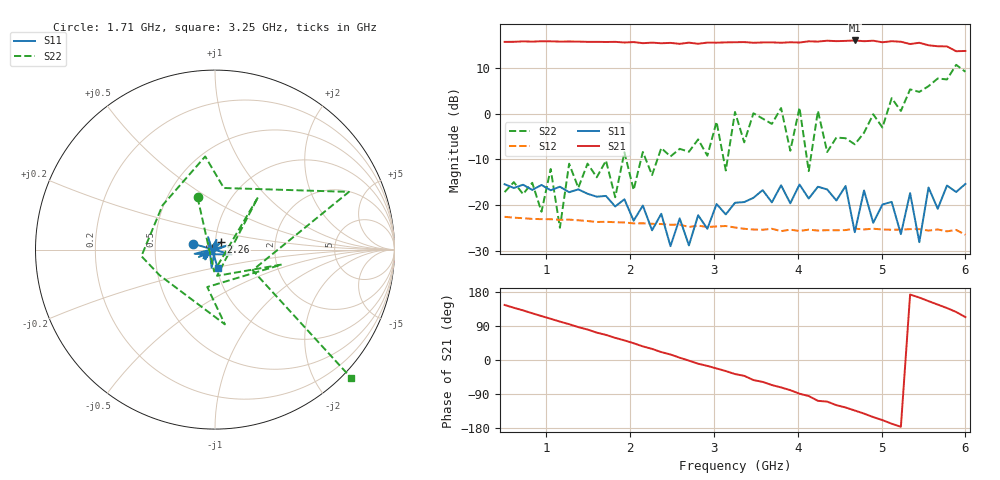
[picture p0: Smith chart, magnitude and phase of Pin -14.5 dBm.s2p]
! RsaToolbox (C) 2015 Rohde & Schwarz America
! Number of points: 51
! Number of ports: 2
! Balanced ports?: No
# Hz S RI R 50
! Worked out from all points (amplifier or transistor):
!   51 points, 500 MHz to 6 GHz, reference 50 ohm
!   highest |S21| = 16.0 dB at 4.68 GHz (marker M1)
!   |S21| within 3 dB of that: start of sweep to end of sweep
!   unconditionally stable (mu >= 1): start of sweep to 3.005 GHz; 3.048 GHz to 3.217 GHz; 4.291 GHz to 4.796 GHz (the widest 3 of 6)
!   at 1.38 GHz: K = 1.34, MAG = 16.0 dB, |S12| = -23.3 dB
!   at 3.25 GHz: K = 0.11, MSG = 20.2 dB, |S12| = -24.9 dB
!   at 6 GHz: K = -14.88, MSG = 20.1 dB, |S12| = -26.5 dB
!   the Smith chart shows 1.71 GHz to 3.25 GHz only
!   S11 on the Smith chart (normalised r, x): 1.71 GHz: 0.78, +0.05; 2.26 GHz: 1.07, +0.09; 3.25 GHz: 1.01, -0.21
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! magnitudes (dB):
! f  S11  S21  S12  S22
! 500 MHz  -15.4  15.7  -22.6  -17.2
! 940 MHz  -15.6  15.8  -23.1  -21.4
! 1.05 GHz  -16.8  15.8  -23.1  -12.1
! 1.16 GHz  -16.0  15.7  -23.2  -24.9
! 1.27 GHz  -17.2  15.7  -23.2  -10.9
! 1.49 GHz  -17.5  15.7  -23.5  -10.9
! 1.71 GHz  -18.0  15.6  -23.6  -10.3
! 2.26 GHz  -25.5  15.5  -24.1  -13.4
! 2.37 GHz  -21.9  15.3  -24.1  -7.5
! 2.7 GHz  -28.8  15.5  -24.8  -8.3
! 3.03 GHz  -19.8  15.5  -24.6  -1.8
! 3.14 GHz  -22.0  15.5  -24.6  -12.4
! 3.25 GHz  -19.5  15.6  -24.9  0.4
! 3.91 GHz  -19.6  15.6  -25.4  -8.1
! 4.02 GHz  -15.5  15.5  -25.6  1.3
! 4.13 GHz  -18.6  15.8  -25.3  -12.6
! 4.24 GHz  -16.0  15.7  -25.5  0.6
! 4.68 GHz  -25.9  16.0  -25.1  -6.7
! 5.12 GHz  -19.3  15.8  -25.4  3.4
! 5.45 GHz  -28.1  15.4  -25.2  4.7
! 5.56 GHz  -16.2  14.9  -25.6  6.0
! 6 GHz  -15.4  13.7  -26.5  9.1
